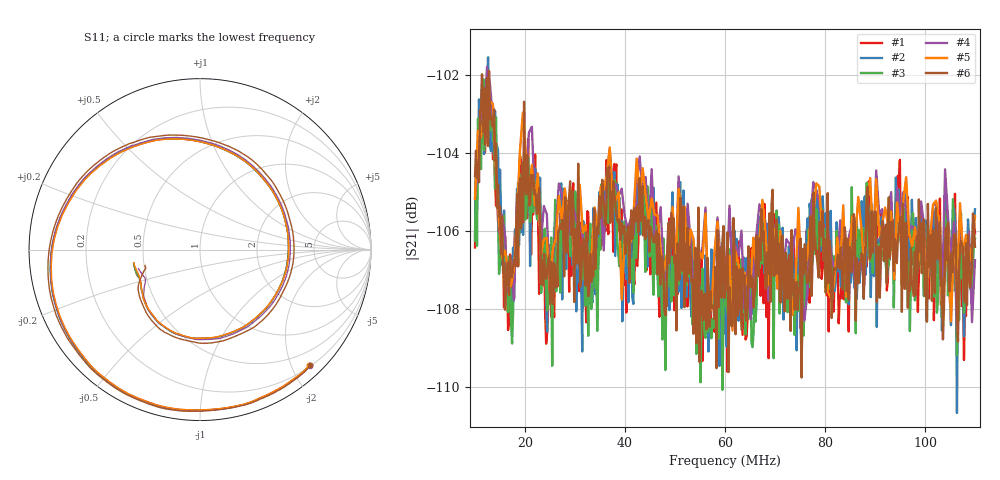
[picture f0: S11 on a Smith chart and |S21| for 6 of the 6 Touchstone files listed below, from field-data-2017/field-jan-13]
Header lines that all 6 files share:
! Anritsu VNA Master:  Model: MS2034B/10/19/501
! SN:  1337062
! Existing Calibration Information:
! TYPE:  Current Settings,  Active Cal Settings
! START FREQ:  10.000 MHz,  10.000 MHz
! STOP FREQ:  110.000 MHz,  110.000 MHz
! SOURCE POWER:  High,  High
! IFBW:  100 Hz,  100 Hz
! AVG FACTOR:  4 ,  4
! REF PLANE 1:  0 mm,  0 mm
! REF PLANE 2:  0 mm,  0 mm
! CAL TYPE:  Full S11,  Full S11
! CAL METHOD:  SOLT,  SOLT
! CAL LINE TYPE:  Coax,  Coax
! DUT PORT 1:  K-Conn(M),  K-Conn(M)
! DUT PORT 2:  N-Conn(M),  N-Conn(M)
! CAL STATUS:  OK: Accuracy High,  --
# GHZ S DB R 50.0
! FREQ.GHZ  S11DB  S11A  S21DB  S21A  S12DB  S12A  S22DB  S22A
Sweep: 10 MHz to 110 MHz
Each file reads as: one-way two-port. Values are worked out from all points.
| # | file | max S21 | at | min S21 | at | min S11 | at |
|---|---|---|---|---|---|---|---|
| 1 | vna-ant252-a2-s11-2.s2p | -102.79 dB | 12.81 MHz | -109.6 dB | 60.5 MHz | -8.1 dB | 101.8 MHz |
| 2 | vna-ant252-a2-s11-3.s2p | -101.55 dB | 12.61 MHz | -110.7 dB | 106.4 MHz | -8.2 dB | 103 MHz |
| 3 | vna-ant252-a2-s11.s2p | -102.11 dB | 11.6 MHz | -110.1 dB | 59.5 MHz | -8.1 dB | 101.8 MHz |
| 4 | vna-ant252v3-a1-s11.s2p | -101.80 dB | 12.4 MHz | -108.6 dB | 106.4 MHz | -8.8 dB | 102.2 MHz |
| 5 | vna-ant252v3-a2-s11.s2p | -102.68 dB | 12.99 MHz | -108.6 dB | 61.5 MHz | -8.2 dB | 102.8 MHz |
| 6 | vna-ant256-z2-s11.s2p | -101.90 dB | 12.81 MHz | -109.8 dB | 75.33 MHz | -9.5 dB | 109.2 MHz |
